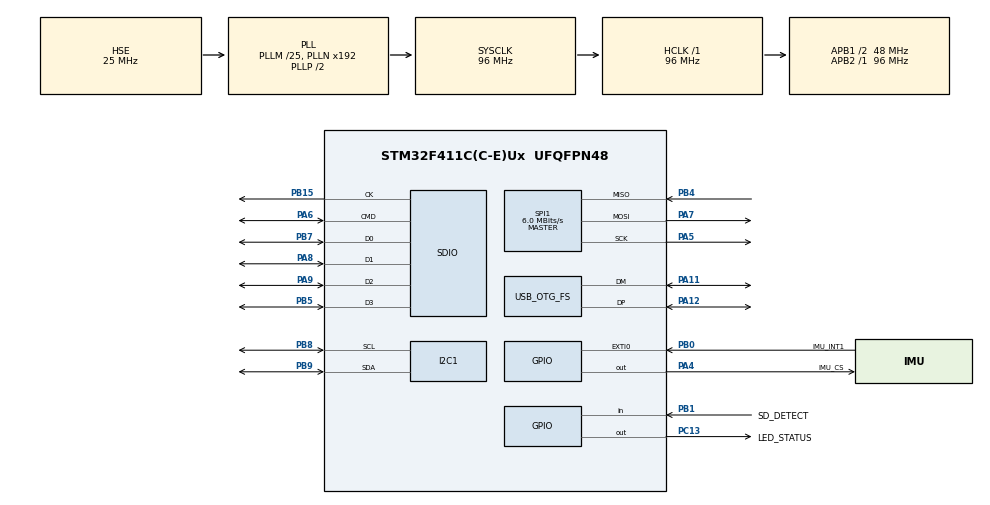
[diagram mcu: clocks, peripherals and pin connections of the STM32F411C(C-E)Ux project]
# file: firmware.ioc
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Dma.Request0=SDIO_RX
Dma.Request1=SDIO_TX
Dma.SDIO_RX.0.Direction=DMA_PERIPH_TO_MEMORY
Dma.SDIO_RX.0.FIFOMode=DMA_FIFOMODE_ENABLE
Dma.SDIO_RX.0.FIFOThreshold=DMA_FIFO_THRESHOLD_FULL
Dma.SDIO_RX.0.Instance=DMA2_Stream3
Dma.SDIO_RX.0.MemBurst=DMA_MBURST_INC4
Dma.SDIO_RX.0.MemDataAlignment=DMA_MDATAALIGN_WORD
Dma.SDIO_RX.0.MemInc=DMA_MINC_ENABLE
Dma.SDIO_RX.0.Mode=DMA_PFCTRL
Dma.SDIO_RX.0.PeriphBurst=DMA_PBURST_INC4
Dma.SDIO_RX.0.PeriphDataAlignment=DMA_PDATAALIGN_WORD
Dma.SDIO_RX.0.PeriphInc=DMA_PINC_DISABLE
Dma.SDIO_RX.0.Priority=DMA_PRIORITY_LOW
Dma.SDIO_TX.1.Direction=DMA_MEMORY_TO_PERIPH
Dma.SDIO_TX.1.FIFOMode=DMA_FIFOMODE_ENABLE
Dma.SDIO_TX.1.FIFOThreshold=DMA_FIFO_THRESHOLD_FULL
Dma.SDIO_TX.1.Instance=DMA2_Stream6
Dma.SDIO_TX.1.MemBurst=DMA_MBURST_INC4
Dma.SDIO_TX.1.MemDataAlignment=DMA_MDATAALIGN_WORD
Dma.SDIO_TX.1.MemInc=DMA_MINC_ENABLE
Dma.SDIO_TX.1.Mode=DMA_PFCTRL
Dma.SDIO_TX.1.PeriphBurst=DMA_PBURST_INC4
Dma.SDIO_TX.1.PeriphDataAlignment=DMA_PDATAALIGN_WORD
Dma.SDIO_TX.1.PeriphInc=DMA_PINC_DISABLE
Dma.SDIO_TX.1.Priority=DMA_PRIORITY_LOW
FATFS.BSP.number=1
FATFS._USE_LFN=1
FATFS0.BSP.STBoard=false
FATFS0.BSP.api=Unknown
FATFS0.BSP.instance=PB1
FATFS0.BSP.ip=GPIO
FATFS0.BSP.mode=Input
FATFS0.BSP.name=Detect_SDIO
FATFS0.BSP.solution=PB1
I2C1.I2C_Mode=I2C_Fast
Mcu.Family=STM32F4
Mcu.Name=STM32F411C(C-E)Ux
Mcu.Package=UFQFPN48
NVIC.DMA2_Stream3_IRQn=true\:2\:0\:false\:false\:true\:false\:true\:true
NVIC.DMA2_Stream6_IRQn=true\:2\:0\:false\:false\:true\:false\:true\:true
NVIC.EXTI0_IRQn=true\:5\:0\:false\:false\:true\:true\:true\:true
NVIC.PriorityGroup=NVIC_PRIORITYGROUP_4
NVIC.SDIO_IRQn=true\:1\:0\:false\:false\:true\:true\:true\:true
PA11.Mode=Device_Only
PA11.Signal=USB_OTG_FS_DM
PA12.Mode=Device_Only
PA12.Signal=USB_OTG_FS_DP
PA13.Mode=Serial_Wire
PA13.Signal=SYS_JTMS-SWDIO
PA14.Mode=Serial_Wire
PA14.Signal=SYS_JTCK-SWCLK
PA4.GPIO_Label=IMU_CS
PA4.PinState=GPIO_PIN_SET
PA4.Signal=GPIO_Output
PA5.Mode=Full_Duplex_Master
PA5.Signal=SPI1_SCK
PA6.Mode=SD_4_bits_Wide_bus
PA6.Signal=SDIO_CMD
PA7.Mode=Full_Duplex_Master
PA7.Signal=SPI1_MOSI
PA8.Mode=SD_4_bits_Wide_bus
PA8.Signal=SDIO_D1
PA9.Mode=SD_4_bits_Wide_bus
PA9.Signal=SDIO_D2
PB0.GPIO_Label=IMU_INT1
PB0.Signal=GPXTI0
PB1.GPIO_Label=SD_DETECT
PB1.GPIO_PuPd=GPIO_PULLUP
PB1.Signal=GPIO_Input
PB15.Mode=SD_4_bits_Wide_bus
PB15.Signal=SDIO_CK
PB4.Mode=Full_Duplex_Master
PB4.Signal=SPI1_MISO
PB5.Mode=SD_4_bits_Wide_bus
PB5.Signal=SDIO_D3
PB7.Mode=SD_4_bits_Wide_bus
PB7.Signal=SDIO_D0
PB8.Mode=I2C
PB8.Signal=I2C1_SCL
PB9.Mode=I2C
PB9.Signal=I2C1_SDA
PC13-ANTI_TAMP.GPIO_Label=LED_STATUS
PC13-ANTI_TAMP.Signal=GPIO_Output
PC14-OSC32_IN.Mode=LSE-External-Oscillator
PC14-OSC32_IN.Signal=RCC_OSC32_IN
PC15-OSC32_OUT.Mode=LSE-External-Oscillator
PC15-OSC32_OUT.Signal=RCC_OSC32_OUT
PH0\ -\ OSC_IN.Mode=HSE-External-Oscillator
PH0\ -\ OSC_IN.Signal=RCC_OSC_IN
PH1\ -\ OSC_OUT.Mode=HSE-External-Oscillator
PH1\ -\ OSC_OUT.Signal=RCC_OSC_OUT
ProjectManager.HeapSize=0x200
ProjectManager.StackSize=0x400
ProjectManager.TargetToolchain=STM32CubeIDE
RCC.48MHZClocksFreq_Value=48000000
RCC.AHBFreq_Value=96000000
RCC.APB1CLKDivider=RCC_HCLK_DIV2
RCC.APB1Freq_Value=48000000
RCC.APB1TimFreq_Value=96000000
RCC.APB2Freq_Value=96000000
RCC.APB2TimFreq_Value=96000000
RCC.CortexFreq_Value=96000000
RCC.HCLKFreq_Value=96000000
RCC.HSE_VALUE=25000000
RCC.HSI_VALUE=16000000
RCC.PLLM=25
RCC.RCC_RTC_Clock_Source=RCC_RTCCLKSOURCE_LSE
RCC.SYSCLKFreq_VALUE=96000000
RCC.SYSCLKSource=RCC_SYSCLKSOURCE_PLLCLK
RCC.VCOOutputFreq_Value=192000000
SDIO.ClockDiv=2
SPI1.BaudRatePrescaler=SPI_BAUDRATEPRESCALER_16
SPI1.CalculateBaudRate=6.0 MBits/s
SPI1.Direction=SPI_DIRECTION_2LINES
SPI1.Mode=SPI_MODE_MASTER
SPI1.VirtualType=VM_MASTER
TIM2.Prescaler=95
USB_OTG_FS.VirtualMode=Device_Only
VP_FATFS_VS_SDIO.Mode=SDIO
VP_RTC_VS_RTC_Activate.Mode=RTC_Enabled
VP_RTC_VS_RTC_Calendar.Mode=RTC_Calendar
VP_TIM2_VS_ClockSourceINT.Mode=Internal
board=custom

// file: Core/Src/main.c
/* USER CODE BEGIN Header */
/**
  ******************************************************************************
  * @file           : main.c
  * @brief          : Main program body
  ******************************************************************************
  * @attention
  *
  * Copyright (c) 2026 STMicroelectronics.
  * All rights reserved.
  *
  * This software is licensed under terms that can be found in the LICENSE file
  * in the root directory of this software component.
  * If no LICENSE file comes with this software, it is provided AS-IS.
  *
  ******************************************************************************
  */
/* USER CODE END Header */
#include "main.h"
#include "dma.h"
#include "fatfs.h"
#include "i2c.h"
#include "rtc.h"
#include "sdio.h"
#include "spi.h"
#include "tim.h"
#include "usb_otg.h"
#include "gpio.h"

/* USER CODE BEGIN Includes */
#include "datalogger.h"

/* USER CODE END Includes */

void SystemClock_Config(void);

int main(void)
{

  /* MCU Configuration--------------------------------------------------------*/

  /* Reset of all peripherals, Initializes the Flash interface and the Systick. */
  HAL_Init();

  /* Configure the system clock */
  SystemClock_Config();

  /* Initialize all configured peripherals */
  MX_GPIO_Init();
  MX_DMA_Init();
  MX_I2C1_Init();
  MX_RTC_Init();
  MX_SDIO_SD_Init();
  MX_SPI1_Init();
  MX_TIM2_Init();
  MX_USB_OTG_FS_PCD_Init();
  MX_FATFS_Init();
  /* USER CODE BEGIN 2 */
  datalogger_iniciar();

  /* USER CODE END 2 */

  /* Infinite loop */
  while (1)
  {

    /* USER CODE BEGIN 3 */
    datalogger_executar();
  }
  /* USER CODE END 3 */
}

void SystemClock_Config(void)
{
  RCC_OscInitTypeDef RCC_OscInitStruct = {0};
  RCC_ClkInitTypeDef RCC_ClkInitStruct = {0};

  /** Configure the main internal regulator output voltage
  */
  __HAL_RCC_PWR_CLK_ENABLE();
  __HAL_PWR_VOLTAGESCALING_CONFIG(PWR_REGULATOR_VOLTAGE_SCALE1);

  /** Initializes the RCC Oscillators according to the specified parameters
  * in the RCC_OscInitTypeDef structure.
  */
  RCC_OscInitStruct.OscillatorType = RCC_OSCILLATORTYPE_HSE|RCC_OSCILLATORTYPE_LSE;
  RCC_OscInitStruct.HSEState = RCC_HSE_ON;
  RCC_OscInitStruct.LSEState = RCC_LSE_ON;
  RCC_OscInitStruct.PLL.PLLState = RCC_PLL_ON;
  RCC_OscInitStruct.PLL.PLLSource = RCC_PLLSOURCE_HSE;
  RCC_OscInitStruct.PLL.PLLM = 25;
  RCC_OscInitStruct.PLL.PLLN = 192;
  RCC_OscInitStruct.PLL.PLLP = RCC_PLLP_DIV2;
  RCC_OscInitStruct.PLL.PLLQ = 4;
  if (HAL_RCC_OscConfig(&RCC_OscInitStruct) != HAL_OK)
  {
    Error_Handler();
  }

  /** Initializes the CPU, AHB and APB buses clocks
  */
  RCC_ClkInitStruct.ClockType = RCC_CLOCKTYPE_HCLK|RCC_CLOCKTYPE_SYSCLK
                              |RCC_CLOCKTYPE_PCLK1|RCC_CLOCKTYPE_PCLK2;
  RCC_ClkInitStruct.SYSCLKSource = RCC_SYSCLKSOURCE_PLLCLK;
  RCC_ClkInitStruct.AHBCLKDivider = RCC_SYSCLK_DIV1;
  RCC_ClkInitStruct.APB1CLKDivider = RCC_HCLK_DIV2;
  RCC_ClkInitStruct.APB2CLKDivider = RCC_HCLK_DIV1;

  if (HAL_RCC_ClockConfig(&RCC_ClkInitStruct, FLASH_LATENCY_3) != HAL_OK)
  {
    Error_Handler();
  }
}

/* USER CODE BEGIN 4 */

/* Interrupção do pino INT1 do IMU (PB0): amostra pronta */
void HAL_GPIO_EXTI_Callback(uint16_t GPIO_Pin)
{
  if (GPIO_Pin == IMU_INT1_Pin)
  {
    datalogger_imu_interrupcao();
  }
}

/* USER CODE END 4 */

void Error_Handler(void)
{
  /* USER CODE BEGIN Error_Handler_Debug */
  /* User can add his own implementation to report the HAL error return state */
  /* Falha grave de inicialização (ex.: cristal que não oscila): pisca o LED
   * bem rápido por ~3 s e reinicia. Sem isso a placa ficaria travada. */
  __disable_irq();
  __HAL_RCC_GPIOC_CLK_ENABLE();
  GPIO_InitTypeDef g = {0};
  g.Pin = LED_STATUS_Pin;
  g.Mode = GPIO_MODE_OUTPUT_PP;
  HAL_GPIO_Init(LED_STATUS_GPIO_Port, &g);
  for (int i = 0; i < 60; i++)
  {
    HAL_GPIO_TogglePin(LED_STATUS_GPIO_Port, LED_STATUS_Pin);
    for (volatile uint32_t k = 0; k < SystemCoreClock / 200u; k++)
    {
    }
  }
  NVIC_SystemReset();
  /* USER CODE END Error_Handler_Debug */
}
